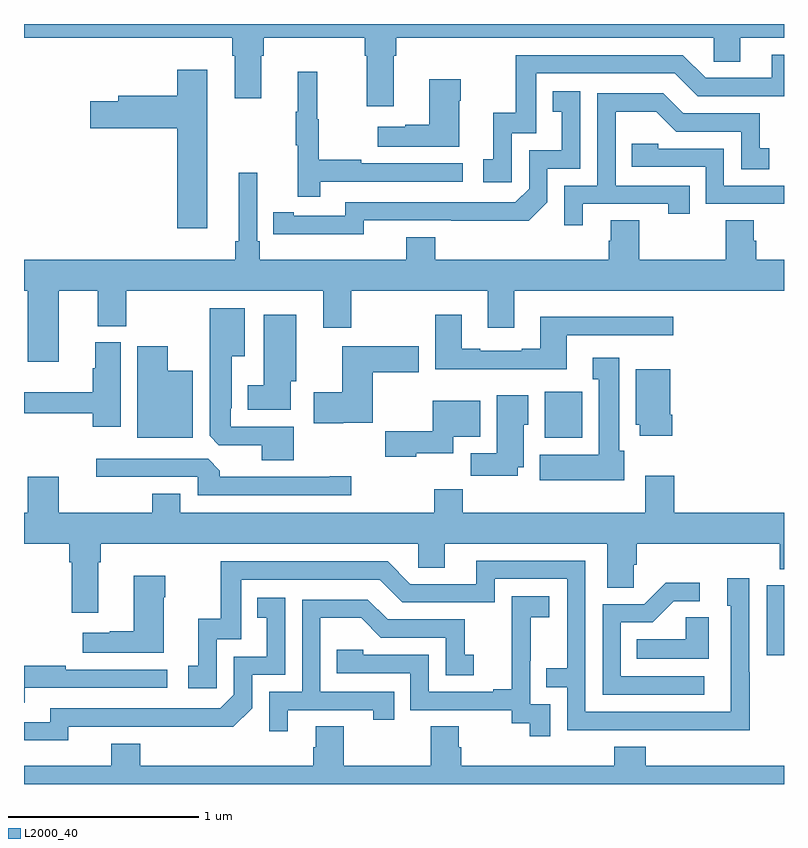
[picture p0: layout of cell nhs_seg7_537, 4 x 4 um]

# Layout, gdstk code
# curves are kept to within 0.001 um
import gdstk
lib = gdstk.Library(unit=1e-6, precision=1e-09)
def R(c, l, rs):  # rectangles x0, y0, x1, y1
    for r in rs: c.add(gdstk.rectangle(r[:2], r[2:], *l))
def P(c, l, *ps):  # polygons
    for p in ps: c.add(gdstk.Polygon(p, *l))
L2000_40 = (2000, 40)

nhs_seg7_537 = lib.new_cell('nhs_seg7_537')
R(nhs_seg7_537, L2000_40, [(156.909,1018.677,157,1019.046), (155.741,1019.822,155.938,1020.064)])
P(nhs_seg7_537, L2000_40, [(154.945,1021.832),(154.958,1021.832),(154.958,1021.928),(156.63,1021.928),(156.63,1021.801),(156.769,1021.801),(156.769,1021.928),(157,1021.928),(157,1022),(153,1022),(153,1021.928),(154.097,1021.928),(154.097,1021.832),(154.109,1021.832),(154.109,1021.608),(154.249,1021.608),(154.249,1021.832),(154.262,1021.832),(154.262,1021.928),(154.793,1021.928),(154.793,1021.832),(154.805,1021.832),(154.805,1021.566),(154.945,1021.566)],
  [(155.568,1021.425),(155.697,1021.425),(155.697,1021.74),(156.426,1021.74),(156.546,1021.62),(157,1021.62),(157,1021.839),(156.935,1021.839),(156.935,1021.716),(156.588,1021.716),(156.468,1021.836),(155.589,1021.836),(155.589,1021.534),(155.471,1021.534),(155.471,1021.287),(155.418,1021.287),(155.418,1021.167),(155.568,1021.167)],
  [(153.964,1021.759),(153.806,1021.759),(153.806,1021.623),(153.497,1021.623),(153.497,1021.593),(153.348,1021.593),(153.348,1021.451),(153.806,1021.451),(153.806,1020.924),(153.964,1020.924)],
  [(154.559,1021.17),(155.308,1021.17),(155.308,1021.266),(154.775,1021.266),(154.775,1021.286),(154.552,1021.286),(154.552,1021.5),(154.544,1021.5),(154.544,1021.75),(154.442,1021.75),(154.442,1021.537),(154.431,1021.537),(154.431,1021.363),(154.442,1021.363),(154.442,1021.092),(154.559,1021.092)],
  [(155.29,1021.595),(155.298,1021.595),(155.298,1021.708),(155.132,1021.708),(155.132,1021.469),(155.006,1021.469),(155.006,1021.459),(154.863,1021.459),(154.863,1021.355),(155.29,1021.355)],
  [(154.788,1020.966),(155.656,1020.965),(155.754,1021.062),(155.754,1021.239),(155.928,1021.239),(155.928,1021.645),(155.782,1021.645),(155.782,1021.539),(155.831,1021.539),(155.831,1021.335),(155.658,1021.335),(155.658,1021.134),(155.586,1021.062),(154.692,1021.062),(154.692,1020.99),(154.42,1020.99),(154.42,1021.01),(154.312,1021.01),(154.312,1020.894),(154.788,1020.893)],
  [(155.941,1021.053),(156.392,1021.053),(156.392,1021.002),(156.503,1021.002),(156.503,1021.149),(156.114,1021.149),(156.114,1021.538),(156.328,1021.538),(156.432,1021.434),(156.774,1021.434),(156.774,1021.236),(156.922,1021.236),(156.922,1021.345),(156.873,1021.345),(156.873,1021.53),(156.469,1021.53),(156.364,1021.635),(156.018,1021.635),(156.018,1021.149),(155.844,1021.149),(155.844,1020.942),(155.941,1020.942)],
  [(157,1021.149),(156.684,1021.149),(156.684,1021.344),(156.339,1021.344),(156.339,1021.371),(156.199,1021.371),(156.199,1021.248),(156.588,1021.248),(156.588,1021.053),(157,1021.053)],
  [(153.184,1020.596),(153.389,1020.596),(153.389,1020.409),(153.537,1020.409),(153.537,1020.596),(154.574,1020.596),(154.574,1020.402),(154.722,1020.402),(154.722,1020.596),(155.441,1020.596),(155.441,1020.402),(155.581,1020.402),(155.581,1020.596),(157,1020.596),(157,1020.76),(156.854,1020.76),(156.854,1020.858),(156.841,1020.858),(156.841,1020.968),(156.694,1020.968),(156.694,1020.76),(156.237,1020.76),(156.237,1020.968),(156.089,1020.968),(156.089,1020.858),(156.077,1020.858),(156.077,1020.76),(155.165,1020.76),(155.165,1020.877),(155.012,1020.877),(155.012,1020.76),(154.241,1020.76),(154.241,1020.856),(154.227,1020.856),(154.227,1021.216),(154.13,1021.216),(154.13,1020.856),(154.111,1020.856),(154.111,1020.76),(153,1020.76),(153,1020.596),(153.02,1020.596),(153.02,1020.222),(153.184,1020.222)],
  [(154.42,1019.88),(154.089,1019.88),(154.089,1019.977),(154.093,1019.977),(154.093,1020.251),(154.162,1020.251),(154.162,1020.505),(153.977,1020.505),(153.977,1019.833),(154.026,1019.784),(154.25,1019.784),(154.25,1019.705),(154.42,1019.705)],
  [(155.857,1020.363),(156.418,1020.363),(156.418,1020.46),(155.717,1020.46),(155.717,1020.292),(155.621,1020.292),(155.621,1020.279),(155.401,1020.279),(155.401,1020.292),(155.305,1020.292),(155.305,1020.469),(155.165,1020.469),(155.165,1020.182),(155.857,1020.182)],
  [(154.405,1020.12),(154.432,1020.12),(154.432,1020.469),(154.262,1020.469),(154.262,1020.1),(154.178,1020.1),(154.178,1019.969),(154.405,1019.969)],
  [(153.508,1020.324),(153.374,1020.324),(153.374,1020.188),(153.362,1020.188),(153.362,1020.061),(153,1020.061),(153,1019.952),(153.362,1019.952),(153.362,1019.88),(153.508,1019.88)],
  [(153.889,1020.175),(153.757,1020.175),(153.757,1020.304),(153.596,1020.304),(153.596,1019.822),(153.889,1019.822)],
  [(154.68,1019.902),(154.835,1019.902),(154.835,1020.166),(155.077,1020.166),(155.077,1020.303),(154.676,1020.303),(154.676,1020.063),(154.524,1020.063),(154.524,1019.9),(154.68,1019.9)],
  [(156.16,1019.754),(156.133,1019.754),(156.133,1020.244),(155.993,1020.244),(155.993,1020.131),(156.026,1020.131),(156.026,1019.734),(155.714,1019.734),(155.714,1019.6),(156.16,1019.6)],
  [(156.413,1019.944),(156.4,1019.944),(156.4,1020.184),(156.221,1020.184),(156.221,1019.892),(156.242,1019.892),(156.242,1019.832),(156.413,1019.832)],
  [(155.599,1019.666),(155.629,1019.666),(155.629,1019.892),(155.653,1019.892),(155.653,1020.046),(155.489,1020.046),(155.489,1019.74),(155.35,1019.74),(155.35,1019.622),(155.599,1019.622)],
  [(155.064,1019.741),(155.26,1019.741),(155.26,1019.828),(155.401,1019.828),(155.401,1020.016),(155.15,1020.016),(155.15,1019.856),(154.902,1019.856),(154.902,1019.722),(155.064,1019.722)],
  [(154.723,1019.621),(154.61,1019.621),(154.61,1019.616),(154.031,1019.616),(154.031,1019.65),(153.969,1019.712),(153.381,1019.712),(153.381,1019.616),(153.915,1019.616),(153.915,1019.52),(154.723,1019.52)],
  [(153.391,1019.168),(153.404,1019.168),(153.404,1019.264),(155.076,1019.264),(155.076,1019.137),(155.215,1019.137),(155.215,1019.264),(156.071,1019.264),(156.071,1019.032),(156.21,1019.032),(156.21,1019.155),(156.224,1019.155),(156.224,1019.264),(156.977,1019.264),(156.977,1019.131),(157,1019.131),(157,1019.428),(156.422,1019.428),(156.422,1019.623),(156.269,1019.623),(156.269,1019.428),(155.309,1019.428),(155.309,1019.552),(155.158,1019.552),(155.158,1019.428),(153.823,1019.428),(153.823,1019.527),(153.676,1019.527),(153.676,1019.428),(153.184,1019.428),(153.184,1019.617),(153.02,1019.617),(153.02,1019.428),(153,1019.428),(153,1019.264),(153.239,1019.264),(153.239,1019.168),(153.251,1019.168),(153.251,1018.902),(153.391,1018.902)],
  [(156.819,1018.589),(156.816,1018.589),(156.816,1019.083),(156.701,1019.083),(156.701,1018.938),(156.72,1018.938),(156.72,1018.38),(155.955,1018.38),(155.955,1019.175),(155.381,1019.175),(155.381,1019.052),(155.034,1019.052),(154.914,1019.172),(154.035,1019.172),(154.035,1018.87),(153.917,1018.87),(153.917,1018.623),(153.864,1018.623),(153.864,1018.503),(154.014,1018.503),(154.014,1018.761),(154.143,1018.761),(154.143,1019.076),(154.872,1019.076),(154.992,1018.956),(155.478,1018.956),(155.478,1019.079),(155.859,1019.079),(155.859,1018.61),(155.749,1018.61),(155.749,1018.509),(155.859,1018.509),(155.859,1018.284),(156.819,1018.283)],
  [(153.736,1018.982),(153.744,1018.982),(153.744,1019.095),(153.578,1019.095),(153.578,1018.805),(153.452,1018.805),(153.452,1018.795),(153.309,1018.795),(153.309,1018.691),(153.736,1018.691)],
  [(156.58,1018.566),(156.141,1018.566),(156.141,1018.851),(156.31,1018.851),(156.421,1018.962),(156.556,1018.962),(156.556,1019.06),(156.377,1019.06),(156.264,1018.947),(156.045,1018.947),(156.045,1018.47),(156.58,1018.47)],
  [(155.769,1018.419),(155.664,1018.419),(155.664,1018.649),(155.666,1018.649),(155.666,1018.877),(155.764,1018.877),(155.764,1018.987),(155.566,1018.987),(155.566,1018.781),(155.567,1018.781),(155.567,1018.498),(155.471,1018.498),(155.471,1018.485),(155.13,1018.485),(155.13,1018.68),(154.785,1018.68),(154.785,1018.707),(154.645,1018.707),(154.645,1018.584),(155.034,1018.584),(155.034,1018.389),(155.568,1018.389),(155.568,1018.321),(155.661,1018.321),(155.661,1018.251),(155.769,1018.251)],
  [(153.234,1018.302),(154.102,1018.301),(154.2,1018.398),(154.2,1018.575),(154.374,1018.575),(154.374,1018.981),(154.228,1018.981),(154.228,1018.875),(154.277,1018.875),(154.277,1018.671),(154.104,1018.671),(154.104,1018.47),(154.032,1018.398),(153.138,1018.398),(153.138,1018.326),(153,1018.326),(153,1018.229),(153.234,1018.229)],
  [(154.387,1018.389),(154.838,1018.389),(154.838,1018.338),(154.949,1018.338),(154.949,1018.485),(154.56,1018.485),(154.56,1018.874),(154.774,1018.874),(154.878,1018.77),(155.22,1018.77),(155.22,1018.572),(155.368,1018.572),(155.368,1018.681),(155.319,1018.681),(155.319,1018.866),(154.915,1018.866),(154.81,1018.971),(154.464,1018.971),(154.464,1018.485),(154.29,1018.485),(154.29,1018.278),(154.387,1018.278)],
  [(156.604,1018.877),(156.483,1018.877),(156.483,1018.762),(156.226,1018.762),(156.226,1018.658),(156.604,1018.658)],
  [(153.005,1018.506),(153.754,1018.506),(153.754,1018.602),(153.221,1018.602),(153.221,1018.622),(153,1018.622),(153,1018.428),(153.005,1018.428)],
  [(157,1018.096),(156.272,1018.096),(156.272,1018.195),(156.107,1018.195),(156.107,1018.096),(155.3,1018.096),(155.3,1018.194),(155.287,1018.194),(155.287,1018.304),(155.14,1018.304),(155.14,1018.096),(154.683,1018.096),(154.683,1018.304),(154.535,1018.304),(154.535,1018.194),(154.523,1018.194),(154.523,1018.096),(153.611,1018.096),(153.611,1018.213),(153.458,1018.213),(153.458,1018.096),(153,1018.096),(153,1018),(157,1018)])

lib.write_gds('nhs_seg7_537.gds')
